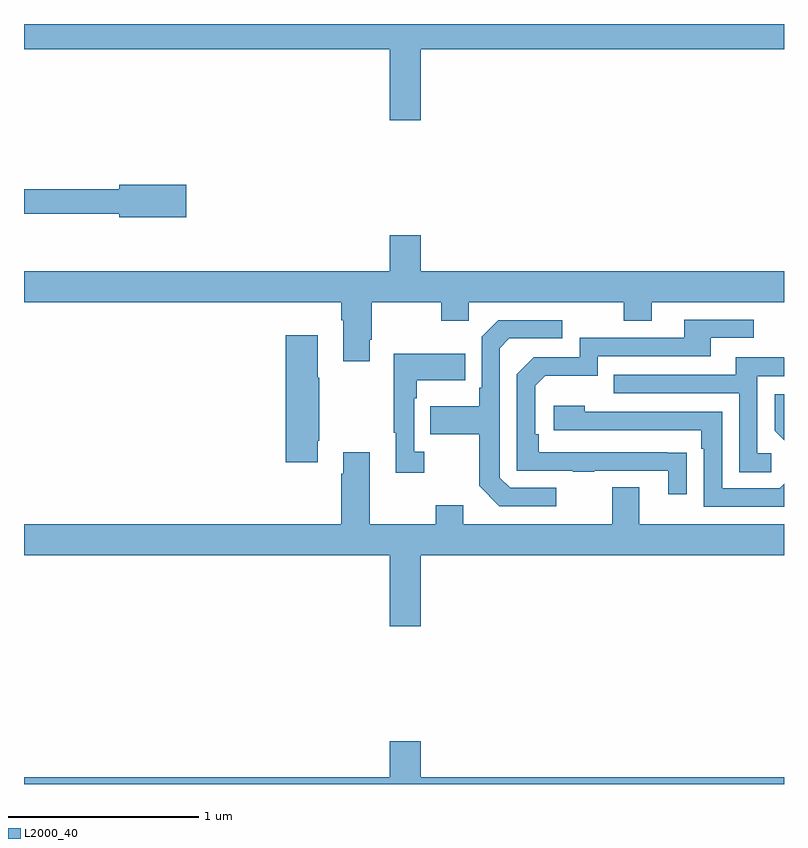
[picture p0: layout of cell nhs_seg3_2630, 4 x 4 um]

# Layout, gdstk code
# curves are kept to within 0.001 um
import gdstk
lib = gdstk.Library(unit=1e-6, precision=1e-09)
def P(c, l, *ps):  # polygons
    for p in ps: c.add(gdstk.Polygon(p, *l))
L2000_40 = (2000, 40)

nhs_seg3_2630 = lib.new_cell('nhs_seg3_2630')
P(nhs_seg3_2630, L2000_40, [(249.088,682.268),(251,682.268),(251,682.4),(247,682.4),(247,682.268),(248.924,682.268),(248.924,681.894),(249.088,681.894)],
  [(247.855,681.554),(247.502,681.554),(247.502,681.53),(247,681.53),(247,681.402),(247.502,681.402),(247.502,681.383),(247.855,681.383)],
  [(248.821,680.737),(248.829,680.737),(248.829,680.936),(249.196,680.936),(249.196,680.837),(249.342,680.837),(249.342,680.936),(250.156,680.936),(250.156,680.837),(250.303,680.837),(250.303,680.936),(251,680.936),(251,681.1),(249.088,681.1),(249.088,681.289),(248.924,681.289),(248.924,681.1),(247,681.1),(247,680.936),(248.669,680.936),(248.669,680.84),(248.681,680.84),(248.681,680.625),(248.821,680.625)],
  [(250.487,680.144),(249.71,680.145),(249.71,680.242),(249.69,680.242),(249.69,680.496),(249.743,680.549),(250.02,680.549),(250.02,680.652),(250.615,680.652),(250.615,680.748),(250.84,680.748),(250.84,680.844),(250.475,680.844),(250.475,680.748),(249.924,680.748),(249.924,680.646),(249.684,680.646),(249.594,680.556),(249.594,680.049),(249.889,680.049),(249.889,680.044),(250.001,680.044),(250.001,680.049),(250.391,680.049),(250.391,679.926),(250.487,679.926)],
  [(249.802,679.959),(249.558,679.959),(249.504,680.013),(249.504,680.694),(249.555,680.745),(249.832,680.745),(249.832,680.841),(249.495,680.841),(249.408,680.754),(249.408,680.485),(249.396,680.485),(249.396,680.389),(249.139,680.389),(249.139,680.242),(249.396,680.242),(249.396,679.969),(249.501,679.863),(249.802,679.863)],
  [(248.545,680.206),(248.553,680.206),(248.553,680.537),(248.545,680.537),(248.545,680.761),(248.378,680.761),(248.378,680.094),(248.545,680.094)],
  [(249.106,680.15),(249.054,680.15),(249.054,680.429),(249.067,680.429),(249.067,680.525),(249.323,680.525),(249.323,680.665),(248.946,680.665),(248.946,680.249),(248.957,680.249),(248.957,680.037),(249.106,680.037)],
  [(250.933,680.142),(250.86,680.142),(250.86,680.547),(251,680.547),(251,680.643),(250.999,680.643),(250.999,680.647),(250.745,680.647),(250.745,680.553),(250.105,680.553),(250.105,680.457),(250.764,680.457),(250.764,680.041),(250.933,680.041)],
  [(251,680.452),(250.95,680.452),(250.95,680.258),(251,680.208)],
  [(251,679.979),(250.977,679.956),(250.674,679.956),(250.674,680.358),(249.95,680.358),(249.95,680.392),(249.789,680.392),(249.789,680.262),(250.565,680.262),(250.565,680.165),(250.578,680.165),(250.578,679.86),(251,679.86)],
  [(249.088,679.604),(251,679.604),(251,679.768),(250.237,679.768),(250.237,679.963),(250.097,679.963),(250.097,679.768),(249.313,679.768),(249.313,679.867),(249.166,679.867),(249.166,679.768),(248.821,679.768),(248.821,680.146),(248.681,680.146),(248.681,680.033),(248.669,680.033),(248.669,679.768),(247,679.768),(247,679.604),(248.924,679.604),(248.924,679.23),(249.088,679.23)],
  [(249.088,678.625),(248.924,678.625),(248.924,678.436),(247,678.436),(247,678.4),(251,678.4),(251,678.436),(249.088,678.436)])

lib.write_gds('nhs_seg3_2630.gds')
